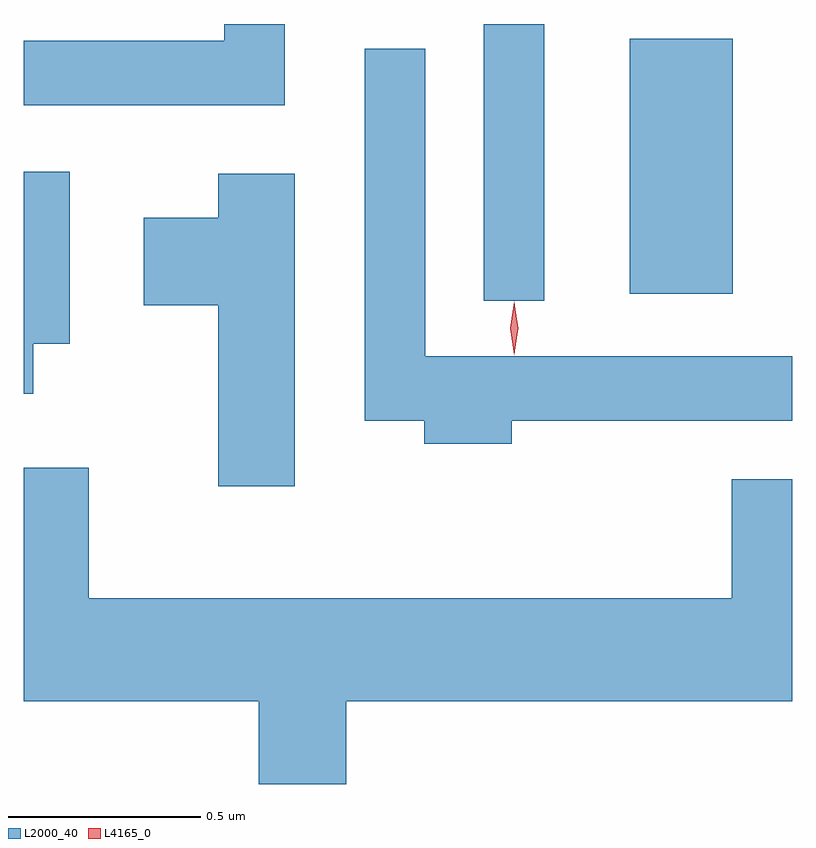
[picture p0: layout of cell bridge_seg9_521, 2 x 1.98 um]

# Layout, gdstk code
import gdstk
lib = gdstk.Library(unit=1e-6, precision=1e-09)
def R(c, l, rs):  # rectangles x0, y0, x1, y1
    for r in rs: c.add(gdstk.rectangle(r[:2], r[2:], *l))
def P(c, l, *ps):  # polygons
    for p in ps: c.add(gdstk.Polygon(p, *l))
L2000_40 = (2000, 40)
L4165_0 = (4165, 0)

bridge_seg9_521 = lib.new_cell('bridge_seg9_521')
R(bridge_seg9_521, L2000_40, [(567.486,1970.658,567.644,1971.378), (567.866,1970.676,568.134,1971.339)])
P(bridge_seg9_521, L2000_40, [(566.969,1971.378),(566.811,1971.378),(566.811,1971.334),(566.289,1971.334),(566.289,1971.166),(566.969,1971.166)],
  [(567.559,1970.346),(568.289,1970.346),(568.289,1970.514),(567.334,1970.514),(567.334,1971.313),(567.176,1971.313),(567.176,1970.346),(567.331,1970.346),(567.331,1970.286),(567.559,1970.286)],
  [(566.314,1970.546),(566.409,1970.546),(566.409,1970.994),(566.289,1970.994),(566.289,1970.416),(566.314,1970.416)],
  [(566.994,1970.989),(566.796,1970.989),(566.796,1970.874),(566.601,1970.874),(566.601,1970.646),(566.796,1970.646),(566.796,1970.176),(566.994,1970.176)],
  [(567.129,1969.616),(568.289,1969.616),(568.289,1970.194),(568.131,1970.194),(568.131,1969.884),(566.459,1969.884),(566.459,1970.224),(566.289,1970.224),(566.289,1969.616),(566.901,1969.616),(566.901,1969.401),(567.129,1969.401)])
P(bridge_seg9_521, L4165_0, [(567.565,1970.517),(567.565,1970.518),(567.555,1970.587),(567.565,1970.656),(567.565,1970.656),(567.566,1970.656),(567.575,1970.587),(567.566,1970.518)],
  [(567.566,1970.519),(567.565,1970.52),(567.556,1970.586),(567.565,1970.652),(567.566,1970.653),(567.566,1970.652),(567.576,1970.586),(567.566,1970.52)])

lib.write_gds('bridge_seg9_521.gds')
